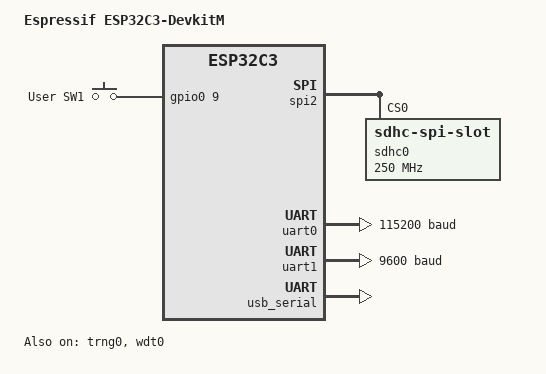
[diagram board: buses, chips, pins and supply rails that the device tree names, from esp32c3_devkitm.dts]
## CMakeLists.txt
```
# SPDX-License-Identifier: Apache-2.0

cmake_minimum_required(VERSION 3.20.0)

find_package(Zephyr REQUIRED HINTS $ENV{ZEPHYR_BASE})
project(hello_cpp_world)

zephyr_include_directories(
    include
)
file(GLOB SRC_LIST src/*)
target_sources(app PRIVATE ${SRC_LIST})
```

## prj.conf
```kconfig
CONFIG_DISK_ACCESS=y
CONFIG_LOG=y
CONFIG_FILE_SYSTEM=y
CONFIG_FAT_FILESYSTEM_ELM=y
CONFIG_PRINTK=y
CONFIG_GPIO=y
CONFIG_UART_INTERRUPT_DRIVEN=y
CONFIG_UART_ASYNC_API=y
```

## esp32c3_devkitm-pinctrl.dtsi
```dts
/*
 * Copyright (c) 2022 Espressif Systems (Shanghai) Co., Ltd.
 *
 * SPDX-License-Identifier: Apache-2.0
 */

#include <zephyr/dt-bindings/pinctrl/esp-pinctrl-common.h>
#include <dt-bindings/pinctrl/esp32c3-pinctrl.h>
#include <zephyr/dt-bindings/pinctrl/esp32c3-gpio-sigmap.h>

&pinctrl {

	uart0_default: uart0_default {
		group1 {
			pinmux = <UART0_TX_GPIO21>;
			output-high;
		};
		group2 {
			pinmux = <UART0_RX_GPIO20>;
			bias-pull-up;
		};
	};
	uart1_default: uart1_default {
		group1 {
			pinmux = <UART1_TX_GPIO8>;
			output-high;
		};
		group2 {
			pinmux = <UART1_RX_GPIO9>;
			bias-pull-up;
		};
	};

	spim2_default: spim2_default {
		group1 {
			pinmux = <SPIM2_MISO_GPIO2>,
				 <SPIM2_SCLK_GPIO6>,
				 <SPIM2_CSEL_GPIO10>;
		};
		group2 {
			pinmux = <SPIM2_MOSI_GPIO7>;
			output-low;
		};
	};


	i2c0_default: i2c0_default {
		group1 {
			pinmux = <I2C0_SDA_GPIO1>,
				 <I2C0_SCL_GPIO3>;
			bias-pull-up;
			drive-open-drain;
			output-high;
		};
	};

	i2s_default: i2s_default {
		group1 {
			pinmux = <I2S_MCLK_GPIO6>,
				 <I2S_O_WS_GPIO5>,
				 <I2S_O_BCK_GPIO4>,
				 <I2S_O_SD_GPIO18>;
			output-enable;
		};
		group2 {
			pinmux = <I2S_I_SD_GPIO19>;
			input-enable;
		};
	};

	twai_default: twai_default {
		group1 {
			pinmux = <TWAI_TX_GPIO4>,
				 <TWAI_RX_GPIO5>;
		};
	};
};
```

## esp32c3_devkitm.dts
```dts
/*
 * Copyright (c) 2021 Espressif Systems (Shanghai) Co., Ltd.
 *
 * SPDX-License-Identifier: Apache-2.0
 */

/dts-v1/;

#include <espressif/esp32c3/esp32c3_mini_n4.dtsi>
#include "esp32c3_devkitm-pinctrl.dtsi"
#include <zephyr/dt-bindings/input/input-event-codes.h>
#include <espressif/partitions_0x0_default.dtsi>

/ {
	model = "Espressif ESP32C3-DevkitM";
	compatible = "espressif,esp32c3";

	chosen {
		zephyr,sram = &sram1;
		zephyr,console = &uart0;
		zephyr,shell-uart = &uart0;
		zephyr,flash = &flash0;
		zephyr,code-partition = &slot0_partition;
		zephyr,bt-hci = &esp32_bt_hci;
		zephyr,gps = &uart1;
	};

	aliases {
		sw0 = &user_button1;
		i2c-0 = &i2c0;
		watchdog0 = &wdt0;
        led-strip = &led_strip;
	};

	gpio_keys {
		compatible = "gpio-keys";
		user_button1: button_1 {
			label = "User SW1";
			gpios = <&gpio0 9 (GPIO_PULL_UP | GPIO_ACTIVE_HIGH)>;
			zephyr,code = <INPUT_KEY_0>;
		};
	};

	gpioled {
        led_strip: rbgled0 {
		    compatible = "worldsemi,ws2812";
		    label = "rbg";
            gpios = <&gpio0 8 (GPIO_PULL_UP | GPIO_ACTIVE_HIGH)>;
            chain-length = <2>;
        };
	};
};

&spi2 {
        status = "okay";
        sdhc0: sdhc@0 {
                compatible = "zephyr,sdhc-spi-slot";
        		status = "okay";
				reg = <0>;
                mmc {
                    compatible = "zephyr,sdmmc-disk";
                    disk-name = "SD";
                    status = "okay";
                };
                spi-max-frequency = <250000000>;
        };
		#address-cells = <1>;
		#size-cells = <0>;
		pinctrl-0 = <&spim2_default>;
    	pinctrl-names = "default";
};

&uart0 {
	status = "okay";
	current-speed = <115200>;
	pinctrl-0 = <&uart0_default>;
	pinctrl-names = "default";
};

&uart1 {
	status = "okay";
	current-speed = <9600>;
	pinctrl-0 = <&uart1_default>;
	pinctrl-names = "default";
};

&usb_serial {
	/* requires resoldering of resistors on the board */
	status = "okay";
};

&i2c0 {
	status = "disabled";
	clock-frequency = <I2C_BITRATE_STANDARD>;
	pinctrl-0 = <&i2c0_default>;
	pinctrl-names = "default";
};

&i2s {
	pinctrl-0 = <&i2s_default>;
	pinctrl-names = "default";
	status = "disabled";
};

&trng0 {
	status = "okay";
};

&gpio0 {
	status = "okay";
};

&wdt0 {
	status = "okay";
};

&timer0 {
	status = "disabled";
};

&timer1 {
	status = "disabled";
};

&twai {
	/* requires external CAN transceiver or jumper on RX and TX pins for loopback testing */
	status = "disabled";
	pinctrl-0 = <&twai_default>;
	pinctrl-names = "default";
};

&esp32_bt_hci {
	status = "disabled";
};

&wifi {
	status = "disabled";
};
```

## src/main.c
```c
#include <string.h>
#include <zephyr/kernel.h>
#include <zephyr/sys/printk.h>
#include <zephyr/drivers/led_strip.h>
#include "filelogging.h"
#include "gps_data_service.h"

LOG_MODULE_REGISTER(main);
char filename[30];

int main(void)
{
    char *suffix = "pos.csv";

    init_gps_service();
    LOG_INF("gps ready");

    char datetime[10];
    get_date_time(datetime);

    strcat(filename, datetime);
    strcat(filename, suffix);
    LOG_INF("Opening file : %s",filename);
    init_logging_tosd(filename);
    LOG_INF("logging ready");
/* -----------UART GPS----------------------- */

    // Read Message queue and filter for RMC or GGA sentences
    int size;
    char rmcframe[GPS_MSG_SIZE];
    char *rmcheader = "$GPRMC";
    //  k_sleep(K_MSEC(1000));
    while (1) {
        while(get_sentence("$GPRMC", rmcframe) != 0){
            k_sleep(K_USEC(1));
        }
        LOG_INF("%s", rmcframe);
        size = strlen(rmcframe);

        log_line_tosd(rmcframe);
        k_sleep(K_SECONDS(5));
    }

    printk("done");
    return 0;
}
```

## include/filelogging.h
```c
#include <string.h>
#include <zephyr/kernel.h>
#include <zephyr/sys/printk.h>
#include <zephyr/device.h>
#include <zephyr/storage/disk_access.h>
#include <zephyr/logging/log.h>
#include <zephyr/fs/fs.h>
#include <ff.h>


int init_logging_tosd(char* filename);

int log_line_tosd(char *data);
```

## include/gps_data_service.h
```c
#include <zephyr/kernel.h>
#include <zephyr/sys/printk.h>
#include <zephyr/device.h>
#include <zephyr/drivers/uart.h>
#include <zephyr/logging/log.h>
#include <string.h>

#define GPS_MSG_SIZE 80

int init_gps_service();

void serial_cb(const struct device *dev, void *user_data);

int get_date_time(char* datetime);

int get_sentence(char *sentence_type, char *sentence);
```

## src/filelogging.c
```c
#include <zephyr/kernel.h>
#include <zephyr/sys/printk.h>
#include <zephyr/device.h>
#include <zephyr/drivers/uart.h>
#include <zephyr/device.h>
#include <zephyr/storage/disk_access.h>
#include <zephyr/logging/log.h>
#include <zephyr/fs/fs.h>
#include <ff.h>
#include <zephyr/drivers/led_strip.h>
#include <filelogging.h>

#define DISK_DRIVE_NAME "SD"
#define DISK_MOUNT_PT "/" DISK_DRIVE_NAME ":"

static FATFS fat_fs;
/* mounting info */
static struct fs_mount_t mp = {
	.type = FS_FATFS,
	.fs_data = &fat_fs,
};
#define FS_RET_OK FR_OK

LOG_MODULE_REGISTER(fslog);

static const char *disk_mount_pt = DISK_MOUNT_PT;
struct fs_file_t file;

int init_logging_tosd(char* filename)
{
	static const char *disk_pdrv = DISK_DRIVE_NAME;
	uint64_t memory_size_mb;
	uint32_t block_count;
	uint32_t block_size;

	if (disk_access_ioctl(disk_pdrv,
						  DISK_IOCTL_CTRL_INIT, NULL) != 0) {
		printk("Storage init ERROR!");
	}

	if (disk_access_ioctl(disk_pdrv,
						  DISK_IOCTL_GET_SECTOR_COUNT, &block_count)) {
		printk("Unable to get sector count");
	}
	printk("Block count %u", block_count);

	if (disk_access_ioctl(disk_pdrv,
						  DISK_IOCTL_GET_SECTOR_SIZE, &block_size)) {
		printk("Unable to get sector size");
	}
	LOG_INF("Sector size %u\n", block_size);

	memory_size_mb = (uint64_t)block_count * block_size;
	LOG_INF("Memory Size(MB) %u\n", (uint32_t)(memory_size_mb >> 20));

	if (disk_access_ioctl(disk_pdrv,
						  DISK_IOCTL_CTRL_DEINIT, NULL) != 0) {
		LOG_ERR("Storage deinit ERROR!");
	}

	mp.mnt_point = disk_mount_pt;

	int res = fs_mount(&mp);
	LOG_INF("mount");
	if (res == FS_RET_OK) {
		LOG_INF("mountsucces\n");
	}

	char path[128];

	int base = strlen(disk_mount_pt);

	fs_file_t_init(&file);

	LOG_INF("Creating some dir entries in %s", disk_mount_pt);
	strncpy(path, disk_mount_pt, sizeof(path));
	path[base++] = '/';
	path[base] = 0;
	strcat(&path[base], filename);

	if (fs_open(&file, path, FS_O_CREATE | FS_O_RDWR | FS_O_TRUNC ) != 0) {
		LOG_ERR("Failed to create file %s", path);
	}
}

int log_line_tosd(char *data)
{
    int size;
    size = strlen(data);
    LOG_INF("log %s , size %d", data, size);
    fs_write(&file,data,size);
    fs_sync(&file);
}

//fs_close(&file);
```

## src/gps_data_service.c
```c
#include "gps_data_service.h"

LOG_MODULE_REGISTER(gps_data);

#define UART_DEVICE_NODE DT_CHOSEN(zephyr_gps)

static const struct device *const uart_dev = DEVICE_DT_GET(UART_DEVICE_NODE);

/* queue to store up to 10 messages (aligned to 4-byte boundary) */
K_MSGQ_DEFINE(uart_msgq, GPS_MSG_SIZE, 10, 4);

/* receive buffer used in UART ISR callback */
static char rx_buf[GPS_MSG_SIZE];
static int rx_buf_pos;

int init_gps_service(void)
{
    /* configure interrupt and callback to receive data */
    int ret = uart_irq_callback_user_data_set(uart_dev, serial_cb, NULL);

    if (ret < 0) {
        if (ret == -ENOTSUP) {
            printk("Interrupt-driven UART API support not enabled\n");
        } else if (ret == -ENOSYS) {
            printk("UART device does not support interrupt-driven API\n");
        } else {
            printk("Error setting UART callback: %d\n", ret);
        }
        return ret;;
    }
    uart_irq_rx_enable(uart_dev);
    return 0;
}

void serial_cb(const struct device *dev, void *user_data)
{
    uint8_t c;
    if (!uart_irq_update(uart_dev)) {
        return;
    }

    if (!uart_irq_rx_ready(uart_dev)) {
        return;
    }

    //read until FIFO empty
    while (uart_fifo_read(uart_dev, &c, 1) == 1) {
        if ((c == '\n' || c == '\r') && rx_buf_pos > 0) {
            // terminate string
            rx_buf[rx_buf_pos] = '\n';
            rx_buf[rx_buf_pos+1] = '\0';

            //if queue is full, drop older messages
            if(k_msgq_put(&uart_msgq, &rx_buf, K_NO_WAIT) !=0 ){
                k_msgq_purge(&uart_msgq);
            }
            // reset the buffer (it was copied to the msgq)
            rx_buf_pos = 0;
        } else if (rx_buf_pos < (sizeof(rx_buf) - 1)) {
            if(c != '\n' && c != '\r'){
                rx_buf[rx_buf_pos++] = c;
            }
        }
        // else: characters beyond buffer size are dropped
    }
}

int get_sentence(char *sentence_type, char *sentence)
{
    char buffer[GPS_MSG_SIZE];
    int ret;
    ret = k_msgq_get(&uart_msgq, buffer, K_NO_WAIT);
    if(ret != 0){
        return ret;
    }
    if (strstr(buffer, sentence_type) == buffer) {
       // It’s a Matching sentence — write it to file
       strcpy(sentence,buffer);
       return 0;
    } else {
        return -1;
    }
}

int get_date_time(char* datetime)
{
    int date_position = 9;
    int time_position = 1;

    char buffer[GPS_MSG_SIZE];
    int buffer_pos=0;
    int outputpos=0;
    while(get_sentence("$GPRMC", buffer) != 0){
        k_sleep(K_USEC(1));
    }
/*
    //Scroll for Date
    for(int i=0; i < date_position ; i++){
        while(buffer[buffer_pos]!=','){
            buffer_pos++;
        }
        buffer_pos++;
    }
    for(int i = 0; i < 4; i++){
        datetime[outputpos]=buffer[buffer_pos];
        outputpos++;
        buffer_pos++;
    }
    datetime[outputpos++]='_';
*/
    //Scroll for time
    buffer_pos=0;
    for(int i = 0; i < time_position ; i++){
        while(buffer[buffer_pos]!=','){
            buffer_pos++;
        }
        buffer_pos++;
    }
    for(int i = 0; i < 4; i++){
        datetime[outputpos]=buffer[buffer_pos];
        outputpos++;
        buffer_pos++;
    }
    datetime[outputpos]='\0';
    LOG_INF("datetime %s", datetime);
}
```
